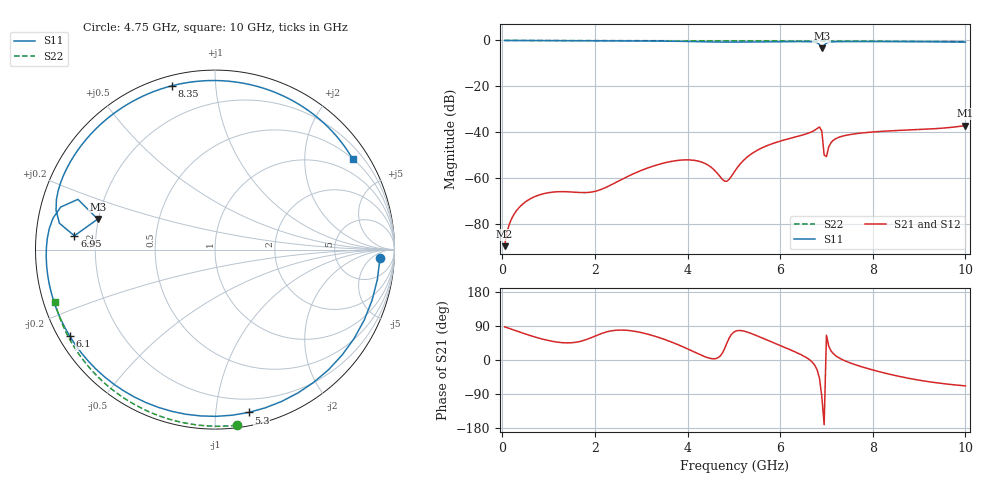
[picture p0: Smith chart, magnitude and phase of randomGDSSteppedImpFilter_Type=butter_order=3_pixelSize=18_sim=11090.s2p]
! freq	dB(S11)	phase(S11)	dB(S12)	phase(S12)
!  dB(S21)	phase(S21)	dB(S22)	phase(S22)
!S-par simulation data
#  GHz  S  DB  R 50
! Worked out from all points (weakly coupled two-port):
!   200 points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, 50 MHz to 10 GHz, reference 50 ohm
!   highest |S21| = -37.12 dB at 10 GHz (marker M1); lowest = -89.8 dB at 50 MHz (marker M2)
!   lowest |S11| = -3.4 dB at 6.9 GHz (marker M3), VSWR 5.16, Z = 9.84 + j6.15 ohm
!   |S11| at or under -10 dB: nowhere
!   |S22| runs from -0.5 to 0.0 dB; largest |S21 - S12| = 0
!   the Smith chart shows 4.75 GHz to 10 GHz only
!   S11 on the Smith chart (normalised r, x): 4.75 GHz: 17, -11; 5.3 GHz: 0.10, -1.22; 6.1 GHz: 0.03, -0.28; 6.95 GHz: 0.12, +0.05; 8.35 GHz: 0.05, +0.77; 10 GHz: 0.51, +3.27
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0.05  -0.00 -3.5  -89.77 87.5  -89.77 87.5  -0.00 -0.9
0.5  -0.05 -34.8  -70.45 68.6  -70.45 68.6  -0.01 -9.3
0.95  -0.08 -64.6  -66.60 52.7  -66.60 52.7  -0.02 -17.6
1.75  -0.13 -113.0  -66.39 51.3  -66.39 51.3  -0.04 -32.1
2.65  -0.18 -163.4  -59.92 78.7  -59.92 78.7  -0.06 -48.0
3.4  -0.27 149.3  -53.96 58.6  -53.96 58.6  -0.08 -60.9
3.85  -0.38 112.2  -52.22 37.5  -52.22 37.5  -0.09 -68.4
4.15  -0.50 80.4  -52.33 20.9  -52.33 20.9  -0.10 -73.3
4.4  -0.61 48.4  -53.91 7.6  -53.91 7.6  -0.11 -77.4
4.75  -0.72 -2.9  -60.56 17.8  -60.56 17.8  -0.12 -83.0
5.05  -0.72 -46.6  -56.17 76.7  -56.17 76.7  -0.14 -87.7
5.3  -0.66 -78.4  -50.70 73.3  -50.70 73.3  -0.15 -91.7
5.7  -0.57 -118.7  -46.05 53.6  -46.05 53.6  -0.16 -97.8
6.1  -0.52 -149.2  -43.35 33.1  -43.35 33.1  -0.19 -103.9
6.7  -0.62 172.8  -39.68 -6.6  -39.68 -6.6  -0.22 -113.0
6.85  -1.79 159.9  -37.75 -49.0  -37.75 -49.0  -0.23 -115.2
6.9  -3.41 165.4  -39.55 -96.5  -39.55 -96.5  -0.24 -116.0
6.95  -2.08 174.4  -50.00 -170.9  -50.00 -170.9  -0.24 -116.7
7.25  -0.54 153.8  -42.39 7.1  -42.39 7.1  -0.26 -121.1
8.35  -0.50 104.7  -39.47 -37.2  -39.47 -37.2  -0.35 -137.2
9.15  -0.55 71.0  -38.72 -56.2  -38.72 -56.2  -0.44 -149.1
10  -0.74 33.3  -37.12 -68.3  -37.12 -68.3  -0.55 -161.9
